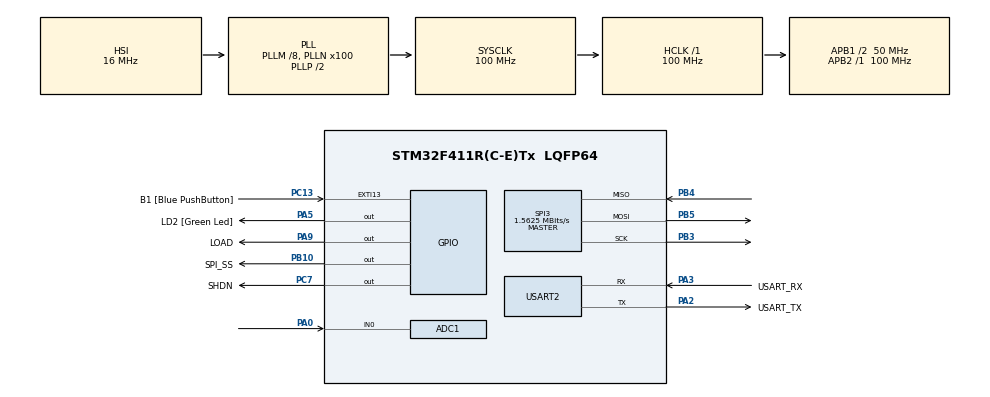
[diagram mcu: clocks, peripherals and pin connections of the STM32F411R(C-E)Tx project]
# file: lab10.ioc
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Mcu.Family=STM32F4
PB10.PinState=GPIO_PIN_SET
RCC.CortexFreq_Value=100000000
SPI3.Direction=SPI_DIRECTION_2LINES
SPI3.VirtualType=VM_MASTER
PA14.GPIO_Label=TCK
RCC.SYSCLKSource=RCC_SYSCLKSOURCE_PLLCLK
ProjectManager.StackSize=0x400
NVIC.ADC_IRQn=true\:0\:0\:false\:false\:true\:true\:true
PH0\ -\ OSC_IN.Signal=RCC_OSC_IN
RCC.HCLKFreq_Value=100000000
RCC.APB2TimFreq_Value=100000000
TIM3.Period=100
Dma.ADC1.0.Direction=DMA_PERIPH_TO_MEMORY
PC7.Signal=GPIO_Output
ADC1.InjNumberOfConversion=0
NVIC.DMA2_Stream0_IRQn=true\:0\:0\:false\:false\:true\:false\:true
Dma.ADC1.0.MemDataAlignment=DMA_MDATAALIGN_HALFWORD
RCC.AHBFreq_Value=100000000
SPI3.DataSize=SPI_DATASIZE_16BIT
ADC1.Channel-0\#ChannelRegularConversion=ADC_CHANNEL_0
NVIC.TIM1_TRG_COM_TIM11_IRQn=true\:0\:0\:false\:false\:true\:true\:true
RCC.HSE_VALUE=8000000
PB3.Mode=Full_Duplex_Master
ADC1.ScanConvMode=ENABLE
PC13-ANTI_TAMP.Signal=GPXTI13
PB4.Mode=Full_Duplex_Master
PC14-OSC32_IN.Mode=LSE-External-Oscillator
PA14.Mode=Serial_Wire
TIM3.Prescaler=99
Dma.ADC1.0.PeriphInc=DMA_PINC_DISABLE
PB5.Mode=Full_Duplex_Master
PC7.PinState=GPIO_PIN_SET
SH.ADCx_IN0.0=ADC1_IN0,IN0
ADC1.SamplingTime-0\#ChannelRegularConversion=ADC_SAMPLETIME_3CYCLES
RCC.FLatency-AdvancedSettings=FLASH_LATENCY_3
Mcu.Package=LQFP64
SPI3.Mode=SPI_MODE_MASTER
USART2.VirtualMode=VM_ASYNC
PA2.GPIO_Label=USART_TX
NVIC.SPI3_IRQn=true\:0\:0\:false\:false\:true\:true\:true
RCC.APB1TimFreq_Value=100000000
Dma.ADC1.0.FIFOMode=DMA_FIFOMODE_DISABLE
Dma.Request0=ADC1
ADC1.EOCSelection=ADC_EOC_SEQ_CONV
VP_TIM3_VS_ClockSourceINT.Mode=Internal
PB4.Signal=SPI3_MISO
PA3.Signal=USART2_RX
PC15-OSC32_OUT.Mode=LSE-External-Oscillator
Dma.ADC1.0.Instance=DMA2_Stream0
ADC1.Rank-0\#ChannelRegularConversion=1
PC13-ANTI_TAMP.GPIO_Label=B1 [Blue PushButton]
PA9.GPIO_Label=LOAD
PH1\ -\ OSC_OUT.Mode=HSE-External-Clock-Source
TIM11.Prescaler=99
RCC.APB1CLKDivider=RCC_HCLK_DIV2
PC14-OSC32_IN.Signal=RCC_OSC32_IN
NVIC.USART2_IRQn=true\:0\:0\:false\:false\:true\:true\:true
PA0-WKUP.Signal=ADCx_IN0
VP_TIM11_VS_ClockSourceINT.Mode=Enable_Timer
PA13.Signal=SYS_JTMS-SWDIO
PA3.Mode=Asynchronous
Dma.ADC1.0.PeriphDataAlignment=DMA_PDATAALIGN_HALFWORD
PH0\ -\ OSC_IN.Mode=HSE-External-Clock-Source
ProjectManager.TargetToolchain=STM32CubeIDE
PB10.GPIO_Label=SPI_SS
Dma.ADC1.0.Mode=DMA_CIRCULAR
Dma.ADC1.0.Priority=DMA_PRIORITY_LOW
PA9.Signal=GPIO_Output
PA9.PinState=GPIO_PIN_SET
PC15-OSC32_OUT.Signal=RCC_OSC32_OUT
PB10.Signal=GPIO_Output
PA5.Signal=GPIO_Output
PH1\ -\ OSC_OUT.Signal=RCC_OSC_OUT
board=NUCLEO-F411RE
RCC.VCOOutputFreq_Value=200000000
RCC.APB2Freq_Value=100000000
SPI3.CalculateBaudRate=1.5625 MBits/s
SPI3.BaudRatePrescaler=SPI_BAUDRATEPRESCALER_32
ADC1.DMAContinuousRequests=ENABLE
PA13.Mode=Serial_Wire
Mcu.Name=STM32F411R(C-E)Tx
PA2.Signal=USART2_TX
PA13.GPIO_Label=TMS
ADC1.ExternalTrigConv=ADC_EXTERNALTRIGCONV_T3_TRGO
PC7.GPIO_Label=SHDN
RCC.48MHZClocksFreq_Value=50000000
PB3.Signal=SPI3_SCK
RCC.SYSCLKFreq_VALUE=100000000
PB5.Signal=SPI3_MOSI
ADC1.master=1
PA5.GPIO_Label=LD2 [Green Led]
PC13-ANTI_TAMP.GPIO_ModeDefaultEXTI=GPIO_MODE_IT_FALLING
PA14.Signal=SYS_JTCK-SWCLK
Dma.ADC1.0.MemInc=DMA_MINC_ENABLE
ProjectManager.HeapSize=0x200
RCC.HSI_VALUE=16000000
NVIC.PriorityGroup=NVIC_PRIORITYGROUP_0
ADC1.NbrOfConversionFlag=1
RCC.PLLM=8
RCC.PLLN=100
PA2.Mode=Asynchronous
TIM3.TIM_MasterOutputTrigger=TIM_TRGO_UPDATE
RCC.APB1Freq_Value=50000000
PA3.GPIO_Label=USART_RX

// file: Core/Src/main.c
/* USER CODE BEGIN Header */
/**
  ******************************************************************************
  * @file           : main.c
  * @brief          : Main program body
  ******************************************************************************
  * @attention
  *
  * <h2><center>&copy; Copyright (c) 2021 STMicroelectronics.
  * All rights reserved.</center></h2>
  *
  * This software component is licensed by ST under BSD 3-Clause license,
  * the "License"; You may not use this file except in compliance with the
  * License. You may obtain a copy of the License at:
  *                        opensource.org/licenses/BSD-3-Clause
  *
  ******************************************************************************
  */
/* USER CODE END Header */
#include "main.h"

/* USER CODE BEGIN Includes */
#include <math.h>
//UI
#include <stdio.h>
#include <string.h>
/* USER CODE END Includes */

/* USER CODE BEGIN PM */
char RxDataBuffer[32] =
{ 0 };
char TxDataBuffer[32] =
{ 0 };
enum _state
{
	State_start = 0,
	State_mainmenu,
	State_sawtooth,
	State_mainsawtooth,
	State_sin,
	State_mainsin,
	State_Square,
	State_mainSquare,

};
/* USER CODE END PM */

ADC_HandleTypeDef hadc1;
DMA_HandleTypeDef hdma_adc1;

SPI_HandleTypeDef hspi3;

TIM_HandleTypeDef htim3;
TIM_HandleTypeDef htim11;

UART_HandleTypeDef huart2;

/* USER CODE BEGIN PV */
uint16_t ADCin = 0;
uint64_t _micro = 0;
//12bits dac
uint16_t dataOut = 0;
//upper 4 bits of dac
uint8_t DACConfig = 0b0011;
uint16_t ADCV = 0 ;
int show = 0 ;
int StateDisplay = 0 ;
int Check = 0 ;

float f = 1.0 ;
int16_t inputchar =0 ;

float T = 0 ;

uint64_t  time_wave = 0 ;
double edit_time = 0 ;
float V_high = 3.3 ;
float V_low = 0 ;
float sumdata = 0 ;
int Duty = 50 ;
float sumtimewave = 0 ;
float Amplitude = 0 ;
int S_sawtooth = 0 ;
int menu = 0 ;
int count = 0 ;
uint64_t T1 = 0 ;
uint64_t T2 = 0 ;
uint16_t out = 0 ;
int d= 0 ;
/* USER CODE END PV */

void SystemClock_Config(void);
static void MX_GPIO_Init(void);
static void MX_DMA_Init(void);
static void MX_USART2_UART_Init(void);
static void MX_ADC1_Init(void);
static void MX_SPI3_Init(void);
static void MX_TIM3_Init(void);
static void MX_TIM11_Init(void);
/* USER CODE BEGIN PFP */
void MCP4922SetOutput(uint8_t Config, uint16_t DACOutput);
uint64_t micros();
int16_t UARTRecieveIT() ;
int16_t UARTRecieveIT() ;
/* USER CODE END PFP */

int main(void)
{

  /* MCU Configuration--------------------------------------------------------*/

  /* Reset of all peripherals, Initializes the Flash interface and the Systick. */
  HAL_Init();

  /* Configure the system clock */
  SystemClock_Config();

  /* Initialize all configured peripherals */
  MX_GPIO_Init();
  MX_DMA_Init();
  MX_USART2_UART_Init();
  MX_ADC1_Init();
  MX_SPI3_Init();
  MX_TIM3_Init();
  MX_TIM11_Init();
  /* USER CODE BEGIN 2 */
	HAL_TIM_Base_Start(&htim3);
	HAL_TIM_Base_Start_IT(&htim11);
	HAL_ADC_Start_DMA(&hadc1, (uint32_t*) &ADCin, 1);

	HAL_GPIO_WritePin(LOAD_GPIO_Port, LOAD_Pin, GPIO_PIN_RESET);
	//new----

    //-------

//	float offset = 0 ;
//	float duty = 0 ;
//

uint64_t time = 0 ;
//	uint64_t time2 = 0 ;
//	int count = 0 ;
//
//	int Vmax_sawtooth = 4000 ;
//	int Vmin_sawtooth = 0 ;
//
//	int Vmax_sin = 4000 ;
//	int Vmin_sin = 0 ;
//	int Vmax_square = 3000 ;
//	int Vmin_square = 1000 ;

//	int menu = 0 ;
//	uint64_t Freq_saw =  0 ;
//	uint64_t  F_Sin = 500000 ;
//	int F_hz_saw = 5000 ;
//	int F_hz_square = 50000 ;

/* USER CODE END 2 */

  /* Infinite loop */
  /* USER CODE BEGIN WHILE */
  while (1)
  {
    //ADCV = ADCin*4096/3.3;
	static uint64_t timestamp = 0;
	HAL_UART_Receive_IT(&huart2,  (uint8_t*)RxDataBuffer, 32);
	inputchar = UARTRecieveIT();
	//if(inputchar!=-1)
		{
		switch(StateDisplay)
		{

		case State_start :
		{
					char temp[]="----------------------------\r\n"
								"------------MENU------------\r\n"
								"please press right\r\n "
								 "press 1 : Sawtooth\r\n"
								 "press 2 : Sine wave\r\n "
								 "press 3 : Square wave\r\n"
								 "---------------------------\r\n";
					HAL_UART_Transmit(&huart2, (uint8_t*)temp, strlen(temp),1000);
					}
			StateDisplay = State_mainmenu ;
			break ;

		case State_mainmenu :
			menu = 0 ;

			switch(inputchar)
			{
			case 0 :
				break ;
			case -1 :
				break ;
			case '1' :
				menu = 1 ;
				StateDisplay = State_sawtooth ;
				break ;
			case '2' :
				menu = 2 ;
				StateDisplay = State_sin ;
				break ;
			case '3' :
				menu = 3 ;
				StateDisplay = State_Square ;
				break ;
			default :
				StateDisplay = State_mainmenu ;
				break ;
			}
			break ;

		case State_sawtooth :
			{
			char temp[]="-----------------------\r\n"
						"MENU 1 : Sawtooth\r\n"
						"press a : + frequency \r\n "
						"press z : - frequency \r\n"
						"press s : + V high \r\n"
						"press x : - V high \r\n"
						"press d : + V low \r\n"
						"press c : - V low \r\n "
						"press f : Slope Up/Down\r\n"
						"press e : exit\r\n"
						"-----------------------\r\n";
			HAL_UART_Transmit(&huart2, (uint8_t*)temp, strlen(temp),100);
			}
			StateDisplay = State_mainsawtooth ;
			break;

		case State_mainsawtooth :
			switch(inputchar)
			{
			case 0 :
				break ;
			case -1 :
				break ;
			case 'a' : //+f
				f = f + 0.1 ;
				if( f > 10)
				{
					f = 10 ;
				}
				{
					char showf[32] = {0};
					sprintf(showf,"Frequency = %f Hz\r\n",f);
					HAL_UART_Transmit(&huart2, (uint8_t*)showf, strlen(showf), 10);
				}
				StateDisplay = State_mainsawtooth ;
				break ;
			case 'z' : //-f
				f = f - 0.1 ;
				if(f < 0 )
				{
					f = 0 ;
				}
				{
					char showf[32] = {0};
					sprintf(showf,"Frequency = %f Hz\r\n",f);
					HAL_UART_Transmit(&huart2, (uint8_t*)showf, strlen(showf), 10);
				}
				StateDisplay = State_mainsawtooth ;
				break ;
			case 's' : //+v high
				V_high = V_high + 0.1 ;
				if( V_high > 3.3)
				{
					V_high = 3.3 ;
				}
				{
					char showf[32] = {0};
					sprintf(showf, "V high = %f V \r\n",V_high);
					HAL_UART_Transmit(&huart2, (uint8_t*)showf, strlen(showf), 10);
				}
				StateDisplay = State_mainsawtooth ;
				break ;
			case 'x' : //-v high
				V_high = V_high - 0.1 ;
				if( V_high < 0)
				{
					V_high = 0 ;
				}
				{
					char showf[32] = {0};
					sprintf(showf, "V high = %f V \r\n",V_high);
					HAL_UART_Transmit(&huart2, (uint8_t*)showf, strlen(showf), 10);
				}
				StateDisplay = State_mainsawtooth ;
				break ;
			case 'd' ://+v low
				V_low = V_low + 0.1 ;
				if( V_low > 3.3)
				{
					V_low = 3.3 ;
				}
				{
					char showf[32] = {0};
					sprintf(showf, "V low = %f V \r\n",V_low);
					HAL_UART_Transmit(&huart2, (uint8_t*)showf, strlen(showf), 10);
				}
				StateDisplay = State_mainsawtooth ;

				break ;
			case 'c' ://-v low
				V_low = V_low - 0.1 ;
				if( V_low < 0)
				{
					V_low = 0 ;
				}
				{
					char showf[32] = {0};
					sprintf(showf, "V low = %f V \r\n",V_low);
					HAL_UART_Transmit(&huart2, (uint8_t*)showf, strlen(showf), 10);
				}
				StateDisplay = State_mainsawtooth ;
				break ;
			case 'f' ://slope U/D
				if(S_sawtooth == 0 )
				{
					S_sawtooth = 1 ;
					{
					char temp[]="Sawtooth slope Down\r\n";
					HAL_UART_Transmit(&huart2, (uint8_t*)temp, strlen(temp),10);
					}
				}
				else
				{
					S_sawtooth = 0 ;
					{
					char temp[]="Sawtooth slope Up\r\n";
					HAL_UART_Transmit(&huart2, (uint8_t*)temp, strlen(temp),10);
					}
				}
				StateDisplay = State_mainsawtooth ;
				break ;
			case 'e' ://exit
				{
				char temp[]="back to menu\r\n";
				HAL_UART_Transmit(&huart2, (uint8_t*)temp, strlen(temp),10);
				}
				StateDisplay = State_start ;
				break ;
			default :
				{
				char temp[]="Wrong, please press again.\r\n";
				HAL_UART_Transmit(&huart2, (uint8_t*)temp, strlen(temp),10);
				}
				StateDisplay = State_mainsawtooth ;
				break ;
			}
			break ;

		case State_sin :
			{
			char temp[]="-----------------------\r\n"
						"MENU 2 : Sine wave\r\n"
						"press a : + frequency \r\n "
						"press z : - frequency \r\n"
						"press s : + V high \r\n"
						"press x : - V high \r\n"
						"press d : + V low \r\n"
						"press c : - V low \r\n "
						"press e : exit\r\n"
						"-----------------------\r\n";
			HAL_UART_Transmit(&huart2, (uint8_t*)temp, strlen(temp),100);
			}
			StateDisplay = State_mainsin ;
			break;

		case State_mainsin :
			switch(inputchar)
			{
			case 0 :
				break ;
			case -1 :
				break ;
			case 'a' : //+f
				f = f + 0.1 ;
				if( f > 10)
				{
					f = 10 ;
				}
				{
					char showe[32] = " ";
					sprintf(showe, "Frequency = %f Hz \r\n",f);
					HAL_UART_Transmit(&huart2, (uint8_t*)showe, strlen(showe), 10);
				}
				StateDisplay = State_mainsin;
				break ;
			case 'z' : //-f
				f = f - 0.1 ;
				if(f < 0 )
				{
					f = 0 ;
				}
				{
					char showf[32] = {0};
					sprintf(showf, "Frequency = %f Hz \r\n",f);
					HAL_UART_Transmit(&huart2, (uint8_t*)showf, strlen(showf), 10);
				}
				StateDisplay = State_mainsin ;
				break ;
			case 's' : //+v high
				V_high = V_high + 0.1 ;
				if( V_high > 3.3)
				{
					V_high = 3.3 ;
				}
				{
					char showf[32] = {0};
					sprintf(showf, "V high = %f V \r\n",V_high);
					HAL_UART_Transmit(&huart2, (uint8_t*)showf, strlen(showf), 10);
				}
				StateDisplay = State_mainsin ;
				break ;
			case 'x' : //-v high
				V_high = V_high - 0.1 ;
				if( V_high < 0)
				{
					V_high = 0 ;
				}
				{
					char showf[32] = {0};
					sprintf(showf, "V high = %f V \r\n",V_high);
					HAL_UART_Transmit(&huart2, (uint8_t*)showf, strlen(showf), 10);
				}
				StateDisplay = State_mainsin ;
				break ;
			case 'd' ://+v low
				V_low = V_low + 0.1 ;
				if( V_low > 3.3)
				{
					V_low = 3.3 ;
				}
				{
					char showf[32] = {0};
					sprintf(showf, "V low = %f V \r\n",V_low);
					HAL_UART_Transmit(&huart2, (uint8_t*)showf, strlen(showf), 10);
				}
				StateDisplay = State_mainsin ;

				break ;
			case 'c' ://-v low
				V_low = V_low - 0.1 ;
				if( V_low < 0)
				{
					V_low = 0 ;
				}
				{
					char showf[32] = {0};
					sprintf(showf, "V low = %f V \r\n",V_low);
					HAL_UART_Transmit(&huart2, (uint8_t*)showf, strlen(showf), 10);
				}
				StateDisplay = State_mainsin ;
				break ;
			case 'e' ://exit
				{
				char temp[]="back to menu\r\n";
				HAL_UART_Transmit(&huart2, (uint8_t*)temp, strlen(temp),10);
				}
				StateDisplay = State_start ;
				break ;
			default :
				{
				char temp[]="Wrong, please press again.\r\n";
				HAL_UART_Transmit(&huart2, (uint8_t*)temp, strlen(temp),10);
				}
				StateDisplay = State_mainsin ;
				break ;
			}
			break ;

		case State_Square :
			{
			char temp[]="-----------------------\r\n"
						"MENU 3 : Square wave\r\n"
						"press a : + frequency \r\n "
						"press z : - frequency \r\n"
						"press s : + V high \r\n"
						"press x : - V high \r\n"
						"press d : + V low \r\n"
						"press c : - V low \r\n "
						"press f : + Duty cycle \r\n"
						"press v : - Duty cycle \r\n"
						"press e : exit\r\n"
						"-----------------------\r\n";
			HAL_UART_Transmit(&huart2, (uint8_t*)temp, strlen(temp),100);
			}
			StateDisplay = State_mainSquare ;
			break;

		case State_mainSquare :
			switch(inputchar)
			{
			case 0 :
				break ;
			case -1 :
				break ;
			case 'a' : //+f
				f = f + 0.1 ;
				if( f > 10)
				{
					f = 10 ;
				}
				{
					char showf[32] = {0};
					sprintf(showf, "Frequency = %f Hz \r\n",f);
					HAL_UART_Transmit(&huart2, (uint8_t*)showf, strlen(showf), 10);
				}
				StateDisplay = State_mainSquare;
				break ;
			case 'z' : //-f
				f = f - 0.1 ;
				if(f < 0 )
				{
					f = 0 ;
				}
				{
					char showf[32] = {0};
					sprintf(showf, "Frequency = %f Hz \r\n",f);
					HAL_UART_Transmit(&huart2, (uint8_t*)showf, strlen(showf), 10);
				}
				StateDisplay = State_mainSquare ;
				break ;
			case 's' : //+v high
				V_high = V_high + 0.1 ;
				if( V_high > 3.3)
				{
					V_high = 3.3 ;
				}
				{
					char showf[32] = {0};
					sprintf(showf, "V high = %f V \r\n",V_high);
					HAL_UART_Transmit(&huart2, (uint8_t*)showf, strlen(showf), 10);
				}
				StateDisplay = State_mainSquare ;
				break ;
			case 'x' : //-v high
				V_high = V_high - 0.1 ;
				if( V_high < 0)
				{
					V_high = 0 ;
				}
				{
					char showf[32] = {0};
					sprintf(showf, "V high = %f V \r\n",V_high);
					HAL_UART_Transmit(&huart2, (uint8_t*)showf, strlen(showf), 10);
				}
				StateDisplay = State_mainSquare ;
				break ;
			case 'd' ://+v low
				V_low = V_low + 0.1 ;
				if( V_low > 3.3)
				{
					V_low = 3.3 ;
				}
				{
					char showf[32] = {0};
					sprintf(showf, "V low = %f V \r\n",V_low);
					HAL_UART_Transmit(&huart2, (uint8_t*)showf, strlen(showf), 10);
				}
				StateDisplay = State_mainSquare ;
				break ;
			case 'c' ://-v low
				V_low = V_low - 0.1 ;
				if( V_low < 0)
				{
					V_low = 0 ;
				}
				{
					char showf[32] = {0};
					sprintf(showf, "V low = %f V \r\n",V_low);
					HAL_UART_Transmit(&huart2, (uint8_t*)showf, strlen(showf), 10);
				}
				StateDisplay = State_mainSquare ;
				break ;
			case 'f' ://+v Duty
				Duty = Duty + 10 ;
				if(Duty > 100)
				{
					Duty = 100 ;
				}
				{
					char showf[32] = {0};
					sprintf(showf, "Duty Cycle = %d \r\n",Duty);
					HAL_UART_Transmit(&huart2, (uint8_t*)showf, strlen(showf), 10);
				}
				StateDisplay = State_mainSquare ;
				break ;
			case 'v' ://-v Duty
				Duty = Duty - 10 ;
				if(Duty < 0)
				{
					Duty = 0  ;
				}
				{
					char showf[32] = {0};
					sprintf(showf, "Duty Cycle = %d \r\n",Duty);
					HAL_UART_Transmit(&huart2, (uint8_t*)showf, strlen(showf), 10);
				}
				StateDisplay = State_mainSquare ;
				break ;
			case 'e' ://exit
				{
				char temp[]="back to menu\r\n";
				HAL_UART_Transmit(&huart2, (uint8_t*)temp, strlen(temp),10);
				}
				StateDisplay = State_start ;
				break ;
			default :
				{
				char temp[]="Wrong, please press again.\r\n";
				HAL_UART_Transmit(&huart2, (uint8_t*)temp, strlen(temp),10);
				}
				StateDisplay = State_mainSquare ;
				break ;
			}
			break ;

		} //Switch State

	//}//if inputchar

	if (micros() - timestamp > 100) //100uz = 10khz
	{
		timestamp = micros();
		if(menu == 1) //sawtooth
		{
			T = 1/f ;
			edit_time = 1000000*T ;
			if(micros() - time_wave > edit_time)
			{
				time_wave = micros() ;
			}
			if(micros() - time_wave <= edit_time)
			{

				if(S_sawtooth == 0) //up
				{
					sumtimewave = micros() - time_wave ;
					sumdata = V_low + (V_high - V_low)*(sumtimewave/edit_time);
					dataOut = sumdata*4096/3.3 ;
				}
				if(S_sawtooth == 1) //D
				{
					sumtimewave = micros() - time_wave ;
					sumdata = V_high - (V_high - V_low)*(sumtimewave/edit_time);
					dataOut = sumdata*4096/3.3 ;

				}
			}
		}
		if(menu == 2)//sin
		{
			T = 1/f ;
			edit_time = 1000000*T ;
			if(micros() - time_wave > edit_time)
			{
				time_wave = micros() ;
			}
			if(micros() - time_wave <= edit_time)
			{
				Amplitude = (V_high - V_low )/2 ;
				sumtimewave = micros()- time_wave ;
				sumdata = V_low + ((sin((sumtimewave/edit_time)*2*3.141592653569793236)+1)*Amplitude);
				dataOut = sumdata*4096/3.3 ;
			}
		}
		if(menu == 3)//square
		{
//			if (micros() - time > ((1.0 / f * 1000000) / 4095)) {
//
//
//			time= micros();
//			out ++ ;
//			out  %=4096 ;
//			if(((float)out/4095)*100<=Duty){
//				dataOut=4095;
//			}
//			else{
//				dataOut=0;
//			}
//			dataOut=((V_high-V_low)*((float)dataOut/4095))+V_low;
//			dataOut=dataOut/3.3;
//			dataOut=dataOut*4096;
//				}
			T = 1/f ;
			edit_time = 1000000*T;
//			d = Duty ;
			T1 = Duty*edit_time*0.01 ;
			T2 = edit_time - T1 ;
			if((count == 0)&&(micros() - time_wave >= T1))
			{
				sumdata = V_low ;
				time_wave = micros() ;
				count = 1 ;

 			}
			if((count == 1)&&(micros() - time_wave >= T2))
			{
				sumdata = V_high ;
				time_wave = micros() ;
				count = 0 ;
			}
			dataOut = sumdata*4096/3.3 ;

//			T = 1/f ;
//			edit_time = 1000000*T ;
//
//			if(micros() - time_wave <= (1000000*T))
//			{
//
//				if(micros() - time_wave <= (1000000*T)*(Duty/100))
//				{
//
//					sumdata = V_high  ;
//
//				}
//				if(micros() - time_wave >( 1000000*T)*(Duty/100))
//				{
//					sumdata = V_low;
//
//				}
//				dataOut = sumdata*4096/3.3 ;
//			}
//			if(micros() - time_wave >( 1000000*T))
//			{
//				time_wave = micros() ;
//			}

			}
		if (hspi3.State == HAL_SPI_STATE_READY
				&& HAL_GPIO_ReadPin(SPI_SS_GPIO_Port, SPI_SS_Pin)
						== GPIO_PIN_SET)
		{
			MCP4922SetOutput(DACConfig, dataOut);
		}
	}

		}
    /* USER CODE END WHILE */

  }
}

void SystemClock_Config(void)
{
  RCC_OscInitTypeDef RCC_OscInitStruct = {0};
  RCC_ClkInitTypeDef RCC_ClkInitStruct = {0};

  /** Configure the main internal regulator output voltage
  */
  __HAL_RCC_PWR_CLK_ENABLE();
  __HAL_PWR_VOLTAGESCALING_CONFIG(PWR_REGULATOR_VOLTAGE_SCALE1);
  /** Initializes the RCC Oscillators according to the specified parameters
  * in the RCC_OscInitTypeDef structure.
  */
  RCC_OscInitStruct.OscillatorType = RCC_OSCILLATORTYPE_HSI;
  RCC_OscInitStruct.HSIState = RCC_HSI_ON;
  RCC_OscInitStruct.HSICalibrationValue = RCC_HSICALIBRATION_DEFAULT;
  RCC_OscInitStruct.PLL.PLLState = RCC_PLL_ON;
  RCC_OscInitStruct.PLL.PLLSource = RCC_PLLSOURCE_HSI;
  RCC_OscInitStruct.PLL.PLLM = 8;
  RCC_OscInitStruct.PLL.PLLN = 100;
  RCC_OscInitStruct.PLL.PLLP = RCC_PLLP_DIV2;
  RCC_OscInitStruct.PLL.PLLQ = 4;
  if (HAL_RCC_OscConfig(&RCC_OscInitStruct) != HAL_OK)
  {
    Error_Handler();
  }
  /** Initializes the CPU, AHB and APB buses clocks
  */
  RCC_ClkInitStruct.ClockType = RCC_CLOCKTYPE_HCLK|RCC_CLOCKTYPE_SYSCLK
                              |RCC_CLOCKTYPE_PCLK1|RCC_CLOCKTYPE_PCLK2;
  RCC_ClkInitStruct.SYSCLKSource = RCC_SYSCLKSOURCE_PLLCLK;
  RCC_ClkInitStruct.AHBCLKDivider = RCC_SYSCLK_DIV1;
  RCC_ClkInitStruct.APB1CLKDivider = RCC_HCLK_DIV2;
  RCC_ClkInitStruct.APB2CLKDivider = RCC_HCLK_DIV1;

  if (HAL_RCC_ClockConfig(&RCC_ClkInitStruct, FLASH_LATENCY_3) != HAL_OK)
  {
    Error_Handler();
  }
}

static void MX_ADC1_Init(void)
{

  ADC_ChannelConfTypeDef sConfig = {0};

  /** Configure the global features of the ADC (Clock, Resolution, Data Alignment and number of conversion)
  */
  hadc1.Instance = ADC1;
  hadc1.Init.ClockPrescaler = ADC_CLOCK_SYNC_PCLK_DIV4;
  hadc1.Init.Resolution = ADC_RESOLUTION_12B;
  hadc1.Init.ScanConvMode = ENABLE;
  hadc1.Init.ContinuousConvMode = DISABLE;
  hadc1.Init.DiscontinuousConvMode = DISABLE;
  hadc1.Init.ExternalTrigConvEdge = ADC_EXTERNALTRIGCONVEDGE_RISING;
  hadc1.Init.ExternalTrigConv = ADC_EXTERNALTRIGCONV_T3_TRGO;
  hadc1.Init.DataAlign = ADC_DATAALIGN_RIGHT;
  hadc1.Init.NbrOfConversion = 1;
  hadc1.Init.DMAContinuousRequests = ENABLE;
  hadc1.Init.EOCSelection = ADC_EOC_SEQ_CONV;
  if (HAL_ADC_Init(&hadc1) != HAL_OK)
  {
    Error_Handler();
  }
  /** Configure for the selected ADC regular channel its corresponding rank in the sequencer and its sample time.
  */
  sConfig.Channel = ADC_CHANNEL_0;
  sConfig.Rank = 1;
  sConfig.SamplingTime = ADC_SAMPLETIME_3CYCLES;
  if (HAL_ADC_ConfigChannel(&hadc1, &sConfig) != HAL_OK)
  {
    Error_Handler();
  }

}

static void MX_SPI3_Init(void)
{

  /* SPI3 parameter configuration*/
  hspi3.Instance = SPI3;
  hspi3.Init.Mode = SPI_MODE_MASTER;
  hspi3.Init.Direction = SPI_DIRECTION_2LINES;
  hspi3.Init.DataSize = SPI_DATASIZE_16BIT;
  hspi3.Init.CLKPolarity = SPI_POLARITY_LOW;
  hspi3.Init.CLKPhase = SPI_PHASE_1EDGE;
  hspi3.Init.NSS = SPI_NSS_SOFT;
  hspi3.Init.BaudRatePrescaler = SPI_BAUDRATEPRESCALER_32;
  hspi3.Init.FirstBit = SPI_FIRSTBIT_MSB;
  hspi3.Init.TIMode = SPI_TIMODE_DISABLE;
  hspi3.Init.CRCCalculation = SPI_CRCCALCULATION_DISABLE;
  hspi3.Init.CRCPolynomial = 10;
  if (HAL_SPI_Init(&hspi3) != HAL_OK)
  {
    Error_Handler();
  }

}

static void MX_TIM3_Init(void)
{

  TIM_ClockConfigTypeDef sClockSourceConfig = {0};
  TIM_MasterConfigTypeDef sMasterConfig = {0};

  htim3.Instance = TIM3;
  htim3.Init.Prescaler = 99;
  htim3.Init.CounterMode = TIM_COUNTERMODE_UP;
  htim3.Init.Period = 100;
  htim3.Init.ClockDivision = TIM_CLOCKDIVISION_DIV1;
  htim3.Init.AutoReloadPreload = TIM_AUTORELOAD_PRELOAD_DISABLE;
  if (HAL_TIM_Base_Init(&htim3) != HAL_OK)
  {
    Error_Handler();
  }
  sClockSourceConfig.ClockSource = TIM_CLOCKSOURCE_INTERNAL;
  if (HAL_TIM_ConfigClockSource(&htim3, &sClockSourceConfig) != HAL_OK)
  {
    Error_Handler();
  }
  sMasterConfig.MasterOutputTrigger = TIM_TRGO_UPDATE;
  sMasterConfig.MasterSlaveMode = TIM_MASTERSLAVEMODE_DISABLE;
  if (HAL_TIMEx_MasterConfigSynchronization(&htim3, &sMasterConfig) != HAL_OK)
  {
    Error_Handler();
  }

}

static void MX_TIM11_Init(void)
{

  htim11.Instance = TIM11;
  htim11.Init.Prescaler = 99;
  htim11.Init.CounterMode = TIM_COUNTERMODE_UP;
  htim11.Init.Period = 65535;
  htim11.Init.ClockDivision = TIM_CLOCKDIVISION_DIV1;
  htim11.Init.AutoReloadPreload = TIM_AUTORELOAD_PRELOAD_DISABLE;
  if (HAL_TIM_Base_Init(&htim11) != HAL_OK)
  {
    Error_Handler();
  }

}

static void MX_USART2_UART_Init(void)
{

  huart2.Instance = USART2;
  huart2.Init.BaudRate = 115200;
  huart2.Init.WordLength = UART_WORDLENGTH_8B;
  huart2.Init.StopBits = UART_STOPBITS_1;
  huart2.Init.Parity = UART_PARITY_NONE;
  huart2.Init.Mode = UART_MODE_TX_RX;
  huart2.Init.HwFlowCtl = UART_HWCONTROL_NONE;
  huart2.Init.OverSampling = UART_OVERSAMPLING_16;
  if (HAL_UART_Init(&huart2) != HAL_OK)
  {
    Error_Handler();
  }

}

static void MX_DMA_Init(void)
{

  /* DMA controller clock enable */
  __HAL_RCC_DMA2_CLK_ENABLE();

  /* DMA interrupt init */
  /* DMA2_Stream0_IRQn interrupt configuration */
  HAL_NVIC_SetPriority(DMA2_Stream0_IRQn, 0, 0);
  HAL_NVIC_EnableIRQ(DMA2_Stream0_IRQn);

}

static void MX_GPIO_Init(void)
{
  GPIO_InitTypeDef GPIO_InitStruct = {0};

  /* GPIO Ports Clock Enable */
  __HAL_RCC_GPIOC_CLK_ENABLE();
  __HAL_RCC_GPIOH_CLK_ENABLE();
  __HAL_RCC_GPIOA_CLK_ENABLE();
  __HAL_RCC_GPIOB_CLK_ENABLE();

  /*Configure GPIO pin Output Level */
  HAL_GPIO_WritePin(LD2_GPIO_Port, LD2_Pin, GPIO_PIN_RESET);

  /*Configure GPIO pin Output Level */
  HAL_GPIO_WritePin(SPI_SS_GPIO_Port, SPI_SS_Pin, GPIO_PIN_SET);

  /*Configure GPIO pin Output Level */
  HAL_GPIO_WritePin(SHDN_GPIO_Port, SHDN_Pin, GPIO_PIN_SET);

  /*Configure GPIO pin Output Level */
  HAL_GPIO_WritePin(LOAD_GPIO_Port, LOAD_Pin, GPIO_PIN_SET);

  /*Configure GPIO pin : B1_Pin */
  GPIO_InitStruct.Pin = B1_Pin;
  GPIO_InitStruct.Mode = GPIO_MODE_IT_FALLING;
  GPIO_InitStruct.Pull = GPIO_NOPULL;
  HAL_GPIO_Init(B1_GPIO_Port, &GPIO_InitStruct);

  /*Configure GPIO pins : LD2_Pin LOAD_Pin */
  GPIO_InitStruct.Pin = LD2_Pin|LOAD_Pin;
  GPIO_InitStruct.Mode = GPIO_MODE_OUTPUT_PP;
  GPIO_InitStruct.Pull = GPIO_NOPULL;
  GPIO_InitStruct.Speed = GPIO_SPEED_FREQ_LOW;
  HAL_GPIO_Init(GPIOA, &GPIO_InitStruct);

  /*Configure GPIO pin : SPI_SS_Pin */
  GPIO_InitStruct.Pin = SPI_SS_Pin;
  GPIO_InitStruct.Mode = GPIO_MODE_OUTPUT_PP;
  GPIO_InitStruct.Pull = GPIO_NOPULL;
  GPIO_InitStruct.Speed = GPIO_SPEED_FREQ_LOW;
  HAL_GPIO_Init(SPI_SS_GPIO_Port, &GPIO_InitStruct);

  /*Configure GPIO pin : SHDN_Pin */
  GPIO_InitStruct.Pin = SHDN_Pin;
  GPIO_InitStruct.Mode = GPIO_MODE_OUTPUT_PP;
  GPIO_InitStruct.Pull = GPIO_NOPULL;
  GPIO_InitStruct.Speed = GPIO_SPEED_FREQ_LOW;
  HAL_GPIO_Init(SHDN_GPIO_Port, &GPIO_InitStruct);

}

/* USER CODE BEGIN 4 */
int16_t UARTRecieveIT()
{
	static uint32_t dataPos =0;
	int16_t data=-1;
	if(huart2.RxXferSize - huart2.RxXferCount!=dataPos)
	{
		data=RxDataBuffer[dataPos];
		dataPos= (dataPos+1)%huart2.RxXferSize;
	}
	return data;
}

void MCP4922SetOutput(uint8_t Config, uint16_t DACOutput)
{
	uint32_t OutputPacket = (DACOutput & 0x0fff) | ((Config & 0xf) << 12);
	HAL_GPIO_WritePin(SPI_SS_GPIO_Port, SPI_SS_Pin, GPIO_PIN_RESET);
	HAL_SPI_Transmit_IT(&hspi3, &OutputPacket, 1);
}

void HAL_SPI_TxCpltCallback(SPI_HandleTypeDef *hspi)
{
	if (hspi == &hspi3)
	{
		HAL_GPIO_WritePin(SPI_SS_GPIO_Port, SPI_SS_Pin, GPIO_PIN_SET);
	}
}

void HAL_TIM_PeriodElapsedCallback(TIM_HandleTypeDef *htim)
{
	if (htim == &htim11)
	{
		_micro += 65535;
	}
}

inline uint64_t micros()
{
	return htim11.Instance->CNT + _micro;
}
/* USER CODE END 4 */

void Error_Handler(void)
{
  __disable_irq();
  while (1)
  {
  }
}

/************************ (C) COPYRIGHT STMicroelectronics *****END OF FILE****/
